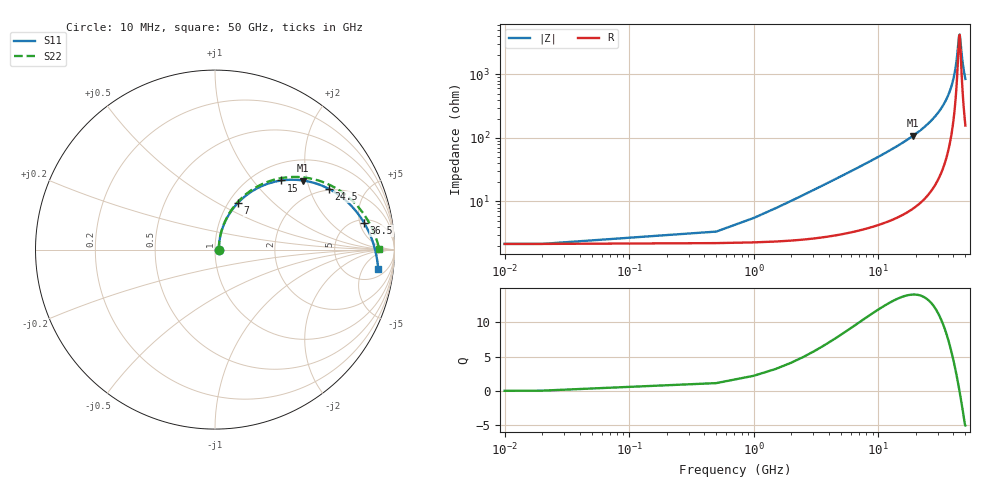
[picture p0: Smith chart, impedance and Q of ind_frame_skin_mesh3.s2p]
! Created with skrf 2.2.0 (http://scikit-rf.org).
# GHz S DB R 50.0
! Port[1] = P1
! Port[2] = P2
!freq dBS11 angS11 dBS21 angS21 dBS12 angS12 dBS22 angS22
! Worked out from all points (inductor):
!   102 points, 10 MHz to 50 GHz, reference 50 ohm
!   read as 1/Y11, port 2 shorted: L = 789 pH near 1.5 GHz
!   highest Q = 14 at 19 GHz (marker M1), where L = 903 pH
!   self-resonance near 44.5 GHz
!   S11 on the Smith chart (normalised r, x): 10 MHz: 1.04, +0.00; 7 GHz: 1.10, +0.63; 15 GHz: 1.31, +1.41; 24.5 GHz: 1.94, +2.71; 36.5 GHz: 5.68, +5.87; 50 GHz: 8, -11
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0.01  -33.56 1.2  -0.18 -0.0  -0.18 -0.0  -33.56 1.2
0.5  -30.21 44.4  -0.19 -1.6  -0.19 -1.6  -30.21 44.4
1  -26.18 60.7  -0.21 -3.1  -0.21 -3.1  -26.18 60.8
1.5  -23.18 66.9  -0.23 -4.6  -0.23 -4.6  -23.18 67.1
2  -20.89 69.5  -0.25 -6.1  -0.25 -6.1  -20.90 69.7
2.5  -19.08 70.5  -0.28 -7.5  -0.28 -7.5  -19.08 70.8
3.5  -16.32 70.4  -0.35 -10.4  -0.35 -10.4  -16.33 70.8
4.5  -14.28 69.0  -0.43 -13.3  -0.43 -13.3  -14.29 69.5
5.5  -12.67 67.2  -0.52 -16.0  -0.52 -16.0  -12.68 67.8
7  -10.79 63.9  -0.68 -20.0  -0.68 -20.0  -10.80 64.8
8.5  -9.32 60.5  -0.87 -23.9  -0.87 -23.9  -9.33 61.5
11.5  -7.16 53.7  -1.30 -31.3  -1.30 -31.3  -7.18 55.1
15  -5.45 46.1  -1.88 -39.3  -1.88 -39.3  -5.46 47.9
17  -4.71 42.0  -2.24 -43.5  -2.24 -43.5  -4.72 44.1
19  -4.10 38.1  -2.62 -47.4  -2.62 -47.4  -4.11 40.4
24.5  -2.88 28.2  -3.71 -57.4  -3.71 -57.4  -2.89 31.3
25.5  -2.71 26.5  -3.91 -59.0  -3.91 -59.0  -2.72 29.7
29.5  -2.15 20.2  -4.73 -65.3  -4.73 -65.3  -2.16 23.9
33.5  -1.72 14.3  -5.57 -71.0  -5.57 -71.0  -1.73 18.6
36.5  -1.47 10.1  -6.20 -75.1  -6.20 -75.1  -1.48 14.9
42  -1.12 2.9  -7.39 -82.0  -7.39 -82.0  -1.12 8.6
50  -0.76 -6.9  -9.19 -91.2  -9.19 -91.2  -0.77 0.2
